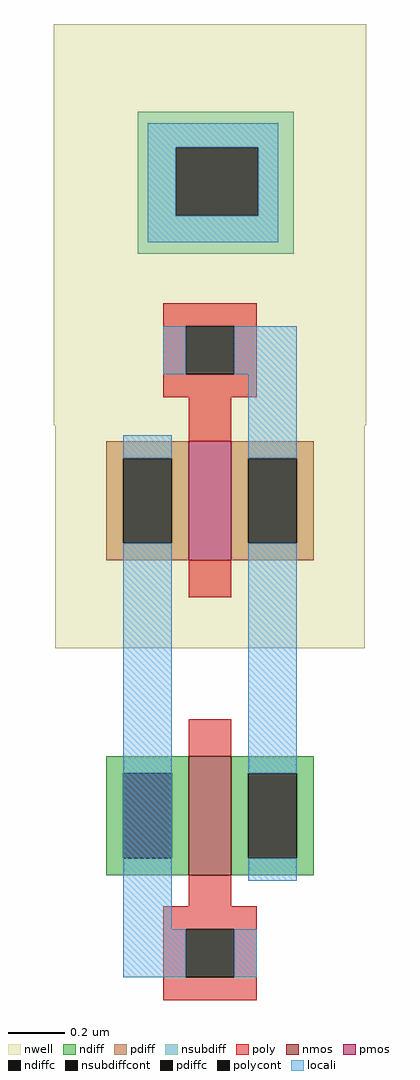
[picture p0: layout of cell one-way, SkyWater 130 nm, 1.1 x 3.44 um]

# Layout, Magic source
magic
tech sky130A
magscale 1 2
<< nwell >>
rect -37 405 183 688
<< nsubdiff >>
rect 22 601 132 626
rect 22 553 49 601
rect 107 553 132 601
rect 22 526 132 553
<< nsubdiffcont >>
rect 49 553 107 601
<< locali >>
rect 29 601 121 618
rect 29 553 49 601
rect 107 553 121 601
rect 29 534 121 553
rect 100 394 134 475
rect 12 168 46 314
rect 100 166 134 312
rect 12 16 46 162
use sky130_fd_pr__pfet_01v8_owy61o  sky130_fd_pr__pfet_01v8_owy61o_0
transform 1 0 73 0 1 371
box -109 -123 109 123
use sky130_fd_pr__nfet_01v8_63vi9a  sky130_fd_pr__nfet_01v8_63vi9a_0
transform 1 0 73 0 1 99
box -73 -99 73 99
<< end >>

# cell sky130_fd_pr__pfet_01v8_owy61o: kit device sky130_fd_pr__pfet_01v8, w 0.42 l 0.15 m 1 nf 1 diffcov 100 polycov 100 guard 0 glc 0 grc 0 gtc 0 gbc 0 tbcov 100 rlcov 100 topc 1 botc 0 poverlap 0 doverlap 1 lmin 0.15 wmin 0.42 compatible {sky130_fd_pr__pfet_01v8 sky130_fd_pr__pfet_01v8_lvt sky130_fd_pr__pfet_01v8_hvt sky130_fd_pr__pfet_g5v0d10v5} full_metal 0

# cell sky130_fd_pr__nfet_01v8_63vi9a: kit device sky130_fd_pr__nfet_01v8, w 0.420 l 0.150 m 1 nf 1 diffcov 100 polycov 100 guard 0 glc 0 grc 0 gtc 0 gbc 0 tbcov 100 rlcov 100 topc 0 botc 1 poverlap 0 doverlap 1 lmin 0.15 wmin 0.42 compatible {sky130_fd_pr__nfet_01v8 sky130_fd_pr__nfet_01v8_lvt sky130_fd_bs_flash__special_sonosfet_star sky130_fd_pr__nfet_g5v0d10v5 sky130_fd_pr__nfet_05v0_nvt} full_metal 0
